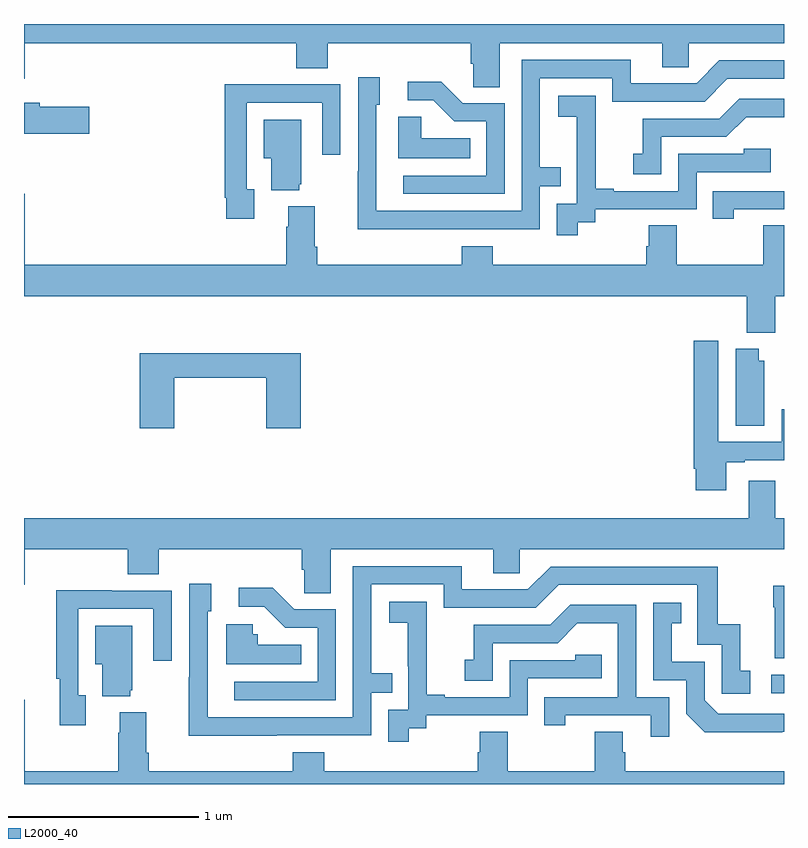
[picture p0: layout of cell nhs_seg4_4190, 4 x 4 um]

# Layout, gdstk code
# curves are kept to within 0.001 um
import gdstk
lib = gdstk.Library(unit=1e-6, precision=1e-09)
def R(c, l, rs):  # rectangles x0, y0, x1, y1
    for r in rs: c.add(gdstk.rectangle(r[:2], r[2:], *l))
def P(c, l, *ps):  # polygons
    for p in ps: c.add(gdstk.Polygon(p, *l))
L2000_40 = (2000, 40)

nhs_seg4_4190 = lib.new_cell('nhs_seg4_4190')
R(nhs_seg4_4190, L2000_40, [(336.933,813.378,337,813.474)])
P(nhs_seg4_4190, L2000_40, [(335.503,816.8),(336.359,816.8),(336.359,816.673),(336.498,816.673),(336.498,816.8),(337,816.8),(337,816.9),(333,816.9),(333,816.612),(333.004,816.612),(333.004,816.8),(334.433,816.8),(334.433,816.667),(334.598,816.667),(334.598,816.8),(335.351,816.8),(335.351,816.691),(335.364,816.691),(335.364,816.568),(335.503,816.568)],
  [(335.219,815.82),(335.715,815.82),(335.715,816.045),(335.825,816.045),(335.825,816.146),(335.715,816.146),(335.715,816.615),(336.096,816.615),(336.096,816.492),(336.582,816.492),(336.702,816.612),(337,816.612),(337,816.708),(336.66,816.708),(336.54,816.588),(336.193,816.588),(336.193,816.711),(335.619,816.711),(335.619,815.916),(334.854,815.916),(334.854,816.474),(334.873,816.474),(334.873,816.619),(334.758,816.619),(334.758,816.125),(334.756,816.125),(334.756,815.819)],
  [(335.529,816.483),(335.31,816.483),(335.197,816.596),(335.019,816.596),(335.019,816.498),(335.153,816.498),(335.264,816.387),(335.433,816.387),(335.433,816.102),(334.995,816.102),(334.995,816.006),(335.529,816.006)],
  [(334.213,816.03),(334.173,816.03),(334.173,816.486),(334.569,816.486),(334.569,816.213),(334.665,816.213),(334.665,816.582),(334.349,816.582),(334.349,816.584),(334.057,816.584),(334.057,815.986),(334.065,815.986),(334.065,815.874),(334.213,815.874)],
  [(335.914,815.857),(336.006,815.857),(336.006,815.925),(336.54,815.925),(336.54,816.12),(336.929,816.12),(336.929,816.243),(336.789,816.243),(336.789,816.216),(336.444,816.216),(336.444,816.021),(336.103,816.021),(336.103,816.034),(336.008,816.034),(336.008,816.317),(336.009,816.317),(336.009,816.523),(335.811,816.523),(335.811,816.413),(335.909,816.413),(335.909,816.185),(335.91,816.185),(335.91,815.955),(335.805,815.955),(335.805,815.787),(335.914,815.787)],
  [(336.354,816.306),(336.696,816.306),(336.8,816.41),(337,816.41),(337,816.507),(336.764,816.507),(336.659,816.402),(336.256,816.402),(336.256,816.217),(336.207,816.217),(336.207,816.108),(336.354,816.108)],
  [(333.343,816.465),(333.082,816.465),(333.082,816.486),(333,816.486),(333,816.323),(333.343,816.323)],
  [(335.348,816.298),(335.091,816.298),(335.091,816.413),(334.97,816.413),(334.97,816.194),(335.348,816.194)],
  [(334.448,816.057),(334.459,816.057),(334.459,816.397),(334.262,816.397),(334.262,816.194),(334.301,816.194),(334.301,816.026),(334.448,816.026)],
  [(336.736,815.925),(337,815.925),(337,816.021),(336.625,816.021),(336.625,815.874),(336.736,815.874)],
  [(336.955,815.468),(337,815.468),(337,815.84),(336.892,815.84),(336.892,815.632),(336.435,815.632),(336.435,815.84),(336.287,815.84),(336.287,815.73),(336.275,815.73),(336.275,815.632),(335.468,815.632),(335.468,815.731),(335.303,815.731),(335.303,815.632),(334.544,815.632),(334.544,815.728),(334.531,815.728),(334.531,815.941),(334.391,815.941),(334.391,815.834),(334.379,815.834),(334.379,815.632),(333.004,815.632),(333.004,816.007),(333,816.007),(333,815.468),(336.803,815.468),(336.803,815.276),(336.955,815.276)],
  [(336.697,814.593),(336.793,814.593),(336.793,814.605),(337,814.605),(337,814.873),(336.989,814.873),(336.989,814.701),(336.655,814.701),(336.655,815.233),(336.524,815.233),(336.524,814.558),(336.536,814.558),(336.536,814.446),(336.697,814.446)],
  [(336.895,815.127),(336.868,815.127),(336.868,815.191),(336.746,815.191),(336.746,814.786),(336.895,814.786)],
  [(333.791,815.038),(334.274,815.038),(334.274,814.773),(334.457,814.773),(334.457,815.167),(333.608,815.167),(333.608,814.773),(333.791,814.773)],
  [(334.615,814.136),(335.471,814.136),(335.471,814.009),(335.61,814.009),(335.61,814.136),(337,814.136),(337,814.3),(336.955,814.3),(336.955,814.495),(336.815,814.495),(336.815,814.3),(333,814.3),(333,813.948),(333.004,813.948),(333.004,814.136),(333.545,814.136),(333.545,814.003),(333.71,814.003),(333.71,814.136),(334.463,814.136),(334.463,814.027),(334.476,814.027),(334.476,813.904),(334.615,813.904)],
  [(334.331,813.156),(334.827,813.156),(334.827,813.381),(334.937,813.381),(334.937,813.482),(334.827,813.482),(334.827,813.951),(335.208,813.951),(335.208,813.828),(335.694,813.828),(335.814,813.948),(336.543,813.948),(336.543,813.633),(336.672,813.633),(336.672,813.375),(336.823,813.375),(336.823,813.495),(336.77,813.495),(336.77,813.742),(336.652,813.742),(336.652,814.044),(335.772,814.044),(335.652,813.924),(335.305,813.924),(335.305,814.047),(334.731,814.047),(334.731,813.252),(333.967,813.252),(333.966,813.81),(333.985,813.81),(333.985,813.955),(333.87,813.955),(333.87,813.461),(333.868,813.461),(333.868,813.155)],
  [(337,813.943),(336.943,813.943),(336.943,813.83),(336.95,813.83),(336.95,813.563),(337,813.563)],
  [(334.641,813.819),(334.422,813.819),(334.309,813.932),(334.131,813.932),(334.131,813.834),(334.265,813.834),(334.376,813.723),(334.545,813.723),(334.545,813.438),(334.107,813.438),(334.107,813.342),(334.641,813.342)],
  [(333.325,813.366),(333.285,813.366),(333.285,813.822),(333.681,813.822),(333.681,813.549),(333.777,813.549),(333.777,813.918),(333.461,813.918),(333.461,813.92),(333.169,813.92),(333.169,813.454),(333.188,813.454),(333.188,813.21),(333.325,813.21)],
  [(335.026,813.193),(335.118,813.193),(335.118,813.261),(335.652,813.261),(335.652,813.456),(336.041,813.456),(336.041,813.579),(335.901,813.579),(335.901,813.552),(335.556,813.552),(335.556,813.357),(335.215,813.357),(335.215,813.37),(335.12,813.37),(335.12,813.653),(335.121,813.653),(335.121,813.859),(334.923,813.859),(334.923,813.749),(335.021,813.749),(335.021,813.521),(335.022,813.521),(335.022,813.291),(334.917,813.291),(334.917,813.123),(335.026,813.123)],
  [(336.992,813.174),(337,813.174),(337,813.27),(336.654,813.27),(336.582,813.342),(336.582,813.543),(336.409,813.543),(336.409,813.747),(336.458,813.747),(336.458,813.853),(336.312,813.853),(336.312,813.447),(336.486,813.447),(336.486,813.27),(336.584,813.173)],
  [(336.396,813.357),(336.222,813.357),(336.222,813.843),(335.876,813.843),(335.771,813.738),(335.368,813.738),(335.368,813.553),(335.319,813.553),(335.319,813.444),(335.466,813.444),(335.466,813.642),(335.808,813.642),(335.912,813.746),(336.126,813.746),(336.126,813.357),(335.737,813.357),(335.737,813.21),(335.848,813.21),(335.848,813.261),(336.299,813.261),(336.299,813.15),(336.396,813.15)],
  [(334.46,813.634),(334.23,813.634),(334.23,813.687),(334.203,813.687),(334.203,813.742),(334.064,813.742),(334.064,813.53),(334.46,813.53)],
  [(333.56,813.393),(333.571,813.393),(333.571,813.733),(333.374,813.733),(333.374,813.53),(333.413,813.53),(333.413,813.362),(333.56,813.362)],
  [(337,812.968),(336.164,812.968),(336.164,813.066),(336.151,813.066),(336.151,813.176),(336.004,813.176),(336.004,812.968),(335.547,812.968),(335.547,813.176),(335.399,813.176),(335.399,813.066),(335.387,813.066),(335.387,812.968),(334.58,812.968),(334.58,813.067),(334.415,813.067),(334.415,812.968),(333.656,812.968),(333.656,813.064),(333.643,813.064),(333.643,813.277),(333.503,813.277),(333.503,813.17),(333.496,813.17),(333.496,812.968),(333.004,812.968),(333.004,813.343),(333,813.343),(333,812.9),(337,812.9)])

lib.write_gds('nhs_seg4_4190.gds')
